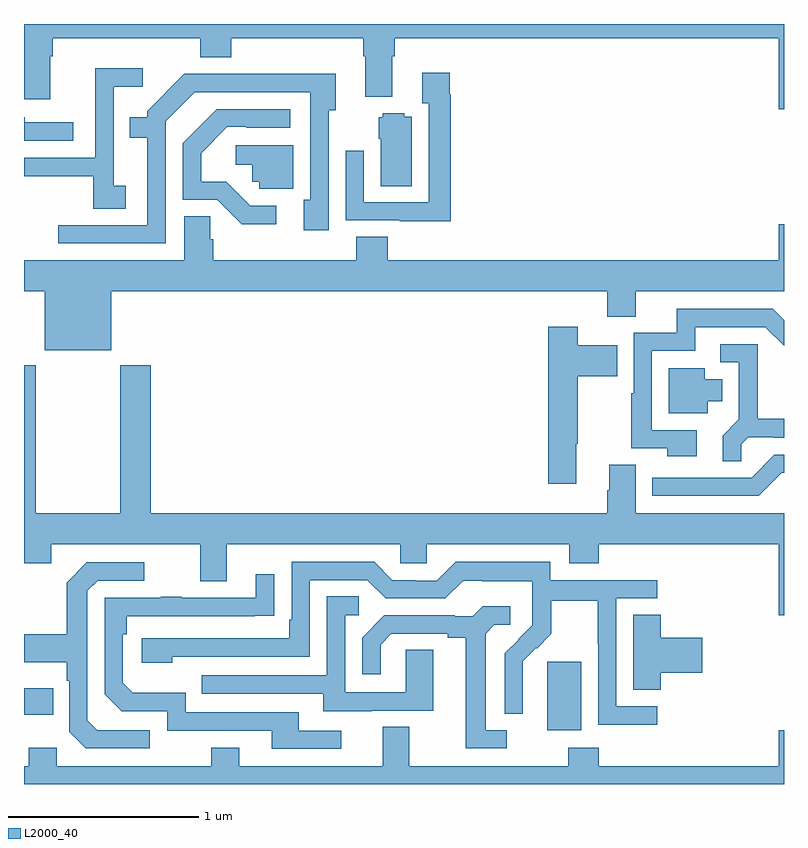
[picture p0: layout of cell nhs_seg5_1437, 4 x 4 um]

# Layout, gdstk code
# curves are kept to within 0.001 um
import gdstk
lib = gdstk.Library(unit=1e-6, precision=1e-09)
def R(c, l, rs):  # rectangles x0, y0, x1, y1
    for r in rs: c.add(gdstk.rectangle(r[:2], r[2:], *l))
def P(c, l, *ps):  # polygons
    for p in ps: c.add(gdstk.Polygon(p, *l))
L2000_40 = (2000, 40)

nhs_seg5_1437 = lib.new_cell('nhs_seg5_1437')
R(nhs_seg5_1437, L2000_40, [(199.754,889.082,199.933,889.443), (197,889.163,197.153,889.303)])
P(nhs_seg5_1437, L2000_40, [(201,892.799),(197,892.799),(197,892.404),(197.137,892.404),(197.137,892.628),(197.15,892.628),(197.15,892.724),(197.927,892.724),(197.927,892.625),(198.092,892.625),(198.092,892.724),(198.785,892.724),(198.785,892.628),(198.797,892.628),(198.797,892.415),(198.937,892.415),(198.937,892.628),(198.95,892.628),(198.95,892.724),(200.972,892.724),(200.972,892.35),(201,892.35)],
  [(197.536,891.948),(197.472,891.948),(197.472,892.469),(197.626,892.469),(197.626,892.567),(197.374,892.567),(197.374,892.328),(197.376,892.328),(197.376,892.095),(197,892.095),(197,891.999),(197.059,891.999),(197.059,891.997),(197.364,891.997),(197.364,891.826),(197.536,891.826)],
  [(199.247,892.43),(199.24,892.43),(199.24,892.543),(199.097,892.543),(199.097,892.382),(199.131,892.382),(199.131,891.861),(198.789,891.861),(198.789,892.132),(198.693,892.132),(198.693,891.765),(198.977,891.765),(198.977,891.761),(199.247,891.761)],
  [(197.745,892.287),(197.898,892.44),(198.507,892.44),(198.507,891.874),(198.473,891.874),(198.473,891.714),(198.603,891.714),(198.603,892.346),(198.64,892.346),(198.64,892.538),(198.175,892.538),(198.175,892.536),(197.844,892.536),(197.649,892.341),(197.649,892.309),(197.557,892.309),(197.557,892.2),(197.648,892.2),(197.648,891.741),(197.181,891.741),(197.181,891.645),(197.745,891.645)],
  [(198.328,891.843),(198.192,891.843),(198.065,891.97),(197.932,891.97),(197.932,892.12),(198.069,892.257),(198.169,892.257),(198.169,892.254),(198.4,892.254),(198.4,892.35),(198.014,892.35),(197.835,892.171),(197.835,891.873),(198.018,891.873),(198.146,891.746),(198.328,891.746)],
  [(199.042,892.312),(199.002,892.312),(199.002,892.33),(198.888,892.33),(198.888,892.308),(198.866,892.308),(198.866,892.194),(198.878,892.194),(198.878,891.946),(199.042,891.946)],
  [(197.26,892.281),(197.004,892.281),(197.004,892.308),(197,892.308),(197,892.185),(197.26,892.185)],
  [(198.418,892.161),(198.114,892.161),(198.114,892.058),(198.201,892.058),(198.201,891.969),(198.237,891.969),(198.237,891.933),(198.418,891.933)],
  [(197.458,891.392),(200.069,891.392),(200.069,891.259),(200.221,891.259),(200.221,891.392),(201,891.392),(201,891.745),(200.972,891.745),(200.972,891.556),(198.914,891.556),(198.914,891.68),(198.749,891.68),(198.749,891.556),(197.996,891.556),(197.996,891.666),(197.981,891.666),(197.981,891.788),(197.843,891.788),(197.843,891.556),(197,891.556),(197,891.392),(197.108,891.392),(197.108,891.083),(197.458,891.083)],
  [(200.542,890.661),(200.304,890.661),(200.304,891.078),(200.533,891.078),(200.533,891.204),(200.901,891.204),(201,891.106),(201,891.24),(200.94,891.3),(200.435,891.3),(200.435,891.174),(200.208,891.174),(200.208,890.855),(200.196,890.855),(200.196,890.565),(200.386,890.565),(200.386,890.525),(200.542,890.525)],
  [(199.906,890.591),(199.914,890.591),(199.914,890.944),(200.123,890.944),(200.123,891.109),(199.914,891.109),(199.914,891.205),(199.76,891.205),(199.76,890.379),(199.906,890.379)],
  [(200.775,890.588),(200.812,890.625),(200.946,890.625),(200.946,890.622),(201,890.622),(201,890.722),(200.861,890.722),(200.861,891.114),(200.664,891.114),(200.664,891.018),(200.763,891.018),(200.763,890.719),(200.677,890.633),(200.677,890.497),(200.775,890.497)],
  [(197.666,891.004),(197.506,891.004),(197.506,890.224),(197.061,890.224),(197.061,891.004),(197,891.004),(197,889.961),(197.143,889.961),(197.143,890.06),(197.927,890.06),(197.927,889.866),(198.067,889.866),(198.067,890.06),(198.981,890.06),(198.981,889.962),(199.119,889.962),(199.119,890.06),(199.871,890.06),(199.871,889.961),(200.024,889.961),(200.024,890.06),(200.972,890.06),(200.972,889.686),(201,889.686),(201,890.224),(200.221,890.224),(200.221,890.48),(200.081,890.48),(200.081,890.346),(200.069,890.346),(200.069,890.224),(197.666,890.224)],
  [(200.599,890.813),(200.674,890.813),(200.674,890.929),(200.584,890.929),(200.584,890.986),(200.393,890.986),(200.393,890.75),(200.599,890.75)],
  [(200.988,890.436),(201,890.436),(201,890.532),(200.949,890.532),(200.829,890.412),(200.306,890.412),(200.306,890.316),(200.868,890.316)],
  [(200.332,889.209),(200.118,889.209),(200.118,889.776),(200.332,889.776),(200.332,889.872),(199.77,889.872),(199.77,889.969),(199.273,889.969),(199.173,889.869),(199.058,889.869),(199.058,889.872),(198.939,889.872),(198.843,889.968),(198.408,889.968),(198.408,889.663),(198.395,889.663),(198.395,889.566),(197.619,889.566),(197.619,889.436),(197.78,889.436),(197.78,889.47),(198.504,889.47),(198.504,889.872),(198.807,889.872),(198.903,889.776),(199.218,889.776),(199.311,889.869),(199.411,889.869),(199.411,889.865),(199.674,889.865),(199.674,889.731),(199.676,889.731),(199.676,889.634),(199.53,889.486),(199.53,889.168),(199.626,889.168),(199.625,889.445),(199.695,889.515),(199.698,889.512),(199.775,889.589),(199.775,889.764),(200.02,889.764),(200.02,889.54),(200.022,889.54),(200.022,889.111),(200.332,889.111)],
  [(197.662,889.083),(197.385,889.083),(197.334,889.134),(197.334,889.815),(197.388,889.869),(197.632,889.869),(197.632,889.965),(197.331,889.965),(197.226,889.859),(197.226,889.587),(197,889.587),(197,889.439),(197.226,889.439),(197.226,889.343),(197.238,889.343),(197.238,889.074),(197.325,888.987),(197.662,888.987)],
  [(198.67,889.08),(198.445,889.08),(198.445,889.176),(197.85,889.176),(197.85,889.279),(197.573,889.279),(197.52,889.332),(197.52,889.586),(197.54,889.586),(197.54,889.683),(198.317,889.684),(198.317,889.903),(198.221,889.903),(198.221,889.779),(197.831,889.779),(197.831,889.784),(197.719,889.784),(197.719,889.779),(197.424,889.779),(197.424,889.272),(197.514,889.182),(197.754,889.182),(197.754,889.08),(198.305,889.08),(198.305,888.984),(198.67,888.984)],
  [(198.829,889.185),(199.153,889.185),(199.153,889.505),(199.008,889.505),(199.008,889.281),(198.69,889.281),(198.69,889.686),(198.763,889.686),(198.763,889.787),(198.594,889.787),(198.594,889.371),(197.935,889.371),(197.935,889.275),(198.575,889.275),(198.575,889.181),(198.829,889.181)],
  [(199.54,889.083),(199.429,889.083),(199.429,889.591),(199.476,889.638),(199.558,889.638),(199.558,889.735),(199.414,889.735),(199.362,889.683),(199.268,889.683),(199.268,889.686),(198.896,889.686),(198.78,889.57),(198.78,889.377),(198.877,889.377),(198.877,889.533),(198.934,889.59),(199.229,889.59),(199.229,889.568),(199.325,889.568),(199.325,888.987),(199.54,888.987)],
  [(200.351,889.385),(200.569,889.385),(200.569,889.568),(200.351,889.568),(200.351,889.691),(200.207,889.691),(200.207,889.294),(200.351,889.294)],
  [(201,889.081),(200.972,889.081),(200.972,888.892),(200.024,888.892),(200.024,888.991),(199.864,888.991),(199.864,888.892),(199.027,888.892),(199.027,889.1),(198.887,889.1),(198.887,888.892),(198.133,888.892),(198.133,888.991),(197.986,888.991),(197.986,888.892),(197.172,888.892),(197.172,888.991),(197.026,888.991),(197.026,888.892),(197,888.892),(197,888.799),(201,888.799)])

lib.write_gds('nhs_seg5_1437.gds')
